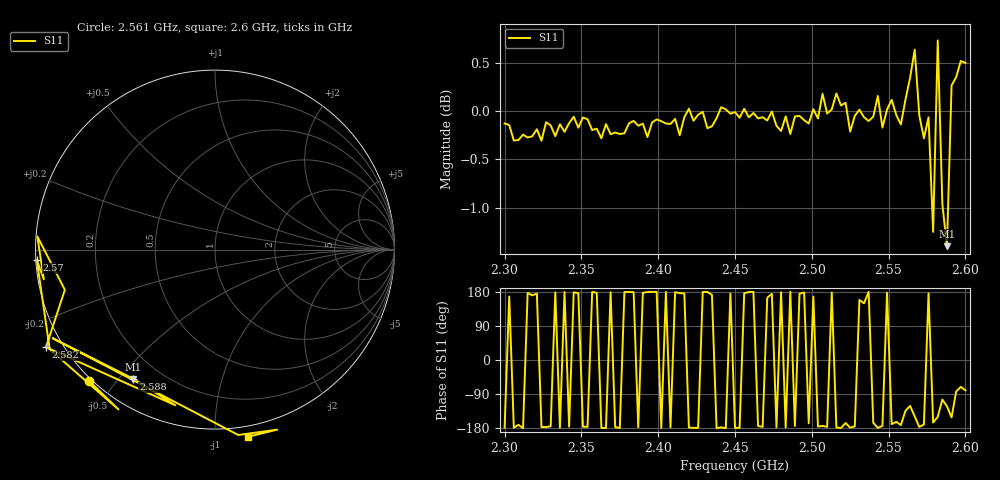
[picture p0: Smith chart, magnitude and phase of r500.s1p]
# Hz S RI R 50
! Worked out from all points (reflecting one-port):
!   101 points, 2.3 GHz to 2.6 GHz, reference 50 ohm
!   lowest |S11| = -1.4 dB at 2.588 GHz (marker M1), VSWR 12.46, Z = 5.22 - j27.3 ohm
!   phase of S11 starts at -179 deg and turns +99 deg over the sweep
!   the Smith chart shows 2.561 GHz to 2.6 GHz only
!   S11 on the Smith chart (normalised r, x): 2.561 GHz: -0.01, -0.43; 2.57 GHz: 0.00, -0.03; 2.582 GHz: -0.04, -0.27; 2.588 GHz: 0.10, -0.55; 2.6 GHz: -0.07, -1.19
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2.3e9  -0.9849 -0.0231
2.303e9  -0.9591 0.2172
2.309e9  -0.9543 -0.1502
2.339e9  -0.9755 0.0114
2.375e9  -0.9729 -0.0076
2.414e9  -0.9696 0.0607
2.45e9  -0.9985 -0.0156
2.468e9  -0.9906 -0.062
2.471e9  -0.952 0.267
2.489e9  -0.9882 -0.1017
2.498e9  -0.9609 -0.2176
2.501e9  -0.9773 0.2213
2.504e9  -0.9881 -0.0774
2.525e9  -0.9754 -0.0229
2.528e9  -0.9906 -0.0853
2.534e9  -0.8556 0.503
2.54e9  -0.9613 -0.2495
2.558e9  -0.9738 -0.1417
2.561e9  -0.7026 -0.7306
2.564e9  -0.5377 -0.8906
2.57e9  -0.9928 -0.0582
2.576e9  -0.9898 0.0736
2.582e9  -0.9417 -0.5438
2.585e9  -0.2208 -0.8674
2.588e9  -0.4543 -0.7202
2.591e9  -0.9049 -0.4935
2.594e9  0.1294 -1.033
2.6e9  0.185 -1.043
